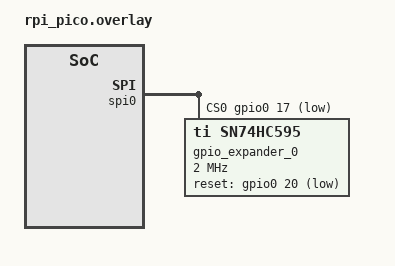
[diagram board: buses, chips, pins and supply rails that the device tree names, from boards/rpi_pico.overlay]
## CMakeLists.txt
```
# SPDX-License-Identifier: Apache-2.0

cmake_minimum_required(VERSION 3.20.0)

find_package(Zephyr REQUIRED HINTS $ENV{ZEPHYR_BASE})
project(segment-display)

target_sources(app PRIVATE src/main.c)
```

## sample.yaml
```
sample:
  name: Segment Display
```

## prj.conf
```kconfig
CONFIG_STDOUT_CONSOLE=y
CONFIG_PRINTK=y
CONFIG_LOG=y
CONFIG_LOG_PRINTK=y
CONFIG_LOG_MODE_IMMEDIATE=y
CONFIG_SPI=y
CONFIG_GPIO_SN74HC595=y
```

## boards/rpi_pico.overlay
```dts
/*
 * SPDX-License-Identifier: Apache-2.0
 */


&spi0 {
	status="okay";
	cs-gpios = <&gpio0 17 GPIO_ACTIVE_LOW>;
	gpio_expander_0: gpio_expander0@0 {
		reg = <0>;
		compatible = "ti,sn74hc595";
		reset-gpios = <&gpio0 20 GPIO_ACTIVE_LOW>;
		ngpios = <0x8>;
		spi-max-frequency = <2000000>;
		#gpio-cells = <0x2>;
		gpio-controller;
	};
};
```

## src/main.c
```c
/*
 * SPDX-License-Identifier: Apache-2.0
 */

/**
 * @file io_expander controll
 */

#include <zephyr/kernel.h>
#include <zephyr/sys/printk.h>
#include <zephyr/device.h>
#include <zephyr/drivers/gpio.h>
#include <zephyr/drivers/spi.h>

#define MAX_GPIOS 1<<7 - 1

static const struct device *const gpio_ex =
                DEVICE_DT_GET(DT_NODELABEL(gpio_expander_0));

int main(void)
{
	printk("start!\n");
	if (!device_is_ready(gpio_ex)) {
		return 0;
	}
	printk("device is ready!\n");

	for (int i=0;i<8;i++) {
		printk("gpio configure loop\n");
		int ret = gpio_pin_configure(gpio_ex, i, GPIO_OUTPUT | GPIO_OUTPUT_INIT_LOW);
	}

	k_msleep(10000);

	int gpio_n = 0;
	while (1) {
		printk("loop gpio_n=%d!\n",gpio_n);
		gpio_port_set_masked_raw(gpio_ex, 0x7f, gpio_n);
		//gpio_port_set_bits_raw(gpio_ex, gpio_n);
		k_msleep(1000);
		gpio_n++;
		if (gpio_n > MAX_GPIOS) {
			gpio_port_clear_bits_raw(gpio_ex, 0x7f);
			gpio_n = 0;
		}
	}
	return 0;
}
```
